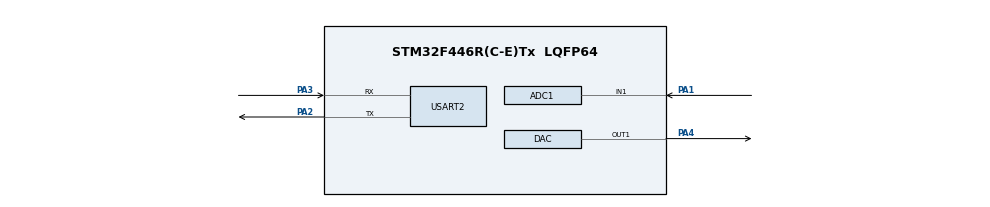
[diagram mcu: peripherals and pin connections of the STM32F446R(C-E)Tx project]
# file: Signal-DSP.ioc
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ADC1.Channel-0\#ChannelRegularConversion=ADC_CHANNEL_1
ADC1.ClockPrescaler=ADC_CLOCK_SYNC_PCLK_DIV4
ADC1.DMAContinuousRequests=ENABLE
ADC1.ExternalTrigConv=ADC_EXTERNALTRIGCONV_T3_TRGO
ADC1.NbrOfConversionFlag=1
ADC1.Rank-0\#ChannelRegularConversion=1
ADC1.SamplingTime-0\#ChannelRegularConversion=ADC_SAMPLETIME_84CYCLES
ADC1.master=1
DAC.DAC_Trigger=DAC_TRIGGER_T6_TRGO
Dma.ADC1.0.Direction=DMA_PERIPH_TO_MEMORY
Dma.ADC1.0.FIFOMode=DMA_FIFOMODE_DISABLE
Dma.ADC1.0.Instance=DMA2_Stream0
Dma.ADC1.0.MemDataAlignment=DMA_MDATAALIGN_HALFWORD
Dma.ADC1.0.MemInc=DMA_MINC_ENABLE
Dma.ADC1.0.Mode=DMA_CIRCULAR
Dma.ADC1.0.PeriphDataAlignment=DMA_PDATAALIGN_HALFWORD
Dma.ADC1.0.PeriphInc=DMA_PINC_DISABLE
Dma.ADC1.0.Priority=DMA_PRIORITY_LOW
Dma.DAC1.1.Direction=DMA_MEMORY_TO_PERIPH
Dma.DAC1.1.FIFOMode=DMA_FIFOMODE_DISABLE
Dma.DAC1.1.Instance=DMA1_Stream5
Dma.DAC1.1.MemDataAlignment=DMA_MDATAALIGN_HALFWORD
Dma.DAC1.1.MemInc=DMA_MINC_ENABLE
Dma.DAC1.1.Mode=DMA_CIRCULAR
Dma.DAC1.1.PeriphDataAlignment=DMA_PDATAALIGN_HALFWORD
Dma.DAC1.1.PeriphInc=DMA_PINC_DISABLE
Dma.DAC1.1.Priority=DMA_PRIORITY_LOW
Dma.Request0=ADC1
Dma.Request1=DAC1
Mcu.Family=STM32F4
Mcu.Name=STM32F446R(C-E)Tx
Mcu.Package=LQFP64
NVIC.DMA1_Stream5_IRQn=true\:0\:0\:false\:false\:true\:false\:true\:true
NVIC.DMA2_Stream0_IRQn=true\:0\:0\:false\:false\:true\:false\:true\:true
NVIC.PriorityGroup=NVIC_PRIORITYGROUP_4
PA1.Signal=ADCx_IN1
PA13.Mode=Serial_Wire
PA13.Signal=SYS_JTMS-SWDIO
PA14.Mode=Serial_Wire
PA14.Signal=SYS_JTCK-SWCLK
PA2.Mode=Asynchronous
PA2.Signal=USART2_TX
PA3.Mode=Asynchronous
PA3.Signal=USART2_RX
PA4.Signal=COMP_DAC1_group
ProjectManager.HeapSize=0x200
ProjectManager.StackSize=0x400
ProjectManager.TargetToolchain=STM32CubeIDE
RCC.CortexFreq_Value=16000000
RCC.USBFreq_Value=96000000
RCC.VCOOutputFreq_Value=192000000
SH.ADCx_IN1.0=ADC1_IN1,IN1
SH.COMP_DAC1_group.0=DAC_OUT1,DAC_OUT1
TIM3.Period=999
TIM3.Prescaler=15
TIM3.TIM_MasterOutputTrigger=TIM_TRGO_UPDATE
TIM6.Period=99
TIM6.Prescaler=15
TIM6.TIM_MasterOutputTrigger=TIM_TRGO_UPDATE
USART2.VirtualMode=VM_ASYNC
VP_TIM3_VS_ClockSourceINT.Mode=Internal
VP_TIM6_VS_ClockSourceINT.Mode=Enable_Timer
board=custom

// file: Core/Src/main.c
/* USER CODE BEGIN Header */
/**
  ******************************************************************************
  * @file           : main.c
  * @brief          : Main program body
  ******************************************************************************
  * @attention
  *
  * Copyright (c) 2026 STMicroelectronics.
  * All rights reserved.
  *
  * This software is licensed under terms that can be found in the LICENSE file
  * in the root directory of this software component.
  * If no LICENSE file comes with this software, it is provided AS-IS.
  *
  ******************************************************************************
  */
/* USER CODE END Header */
#include "main.h"

/* USER CODE BEGIN Includes */
#include <stdio.h>
#include "test_signal.h"
/* USER CODE END Includes */

ADC_HandleTypeDef hadc1;
DMA_HandleTypeDef hdma_adc1;

DAC_HandleTypeDef hdac;
DMA_HandleTypeDef hdma_dac1;

TIM_HandleTypeDef htim3;
TIM_HandleTypeDef htim6;

UART_HandleTypeDef huart2;

/* USER CODE BEGIN PV */
#define BLOCK    512
#define ADC_BUF  (2 * BLOCK)

uint16_t adc_buf[ADC_BUF];
volatile uint8_t block_ready = 0;    // 1: ilk yarı doldu, 2: ikinci yarı doldu
uint32_t block_count = 0;
char msg[80];
/* USER CODE END PV */

void SystemClock_Config(void);
static void MX_GPIO_Init(void);
static void MX_DMA_Init(void);
static void MX_ADC1_Init(void);
static void MX_TIM3_Init(void);
static void MX_TIM6_Init(void);
static void MX_DAC_Init(void);
static void MX_USART2_UART_Init(void);

/* USER CODE BEGIN 0 */
void HAL_ADC_ConvHalfCpltCallback(ADC_HandleTypeDef *hadc) { block_ready = 1; }
void HAL_ADC_ConvCpltCallback(ADC_HandleTypeDef *hadc)     { block_ready = 2; }
/* USER CODE END 0 */

int main(void)
{

  /* MCU Configuration--------------------------------------------------------*/

  /* Reset of all peripherals, Initializes the Flash interface and the Systick. */
  HAL_Init();

  /* Configure the system clock */
  SystemClock_Config();

  /* Initialize all configured peripherals */
  MX_GPIO_Init();
  MX_DMA_Init();
  MX_ADC1_Init();
  MX_TIM3_Init();
  MX_TIM6_Init();
  MX_DAC_Init();
  MX_USART2_UART_Init();
  /* USER CODE BEGIN 2 */
  HAL_DAC_Start_DMA(&hdac, DAC_CHANNEL_1, (uint32_t*)test_signal, TEST_SIGNAL_LEN, DAC_ALIGN_12B_R);
  HAL_TIM_Base_Start(&htim6);                       // DAC tetikleyicisi (10 kHz)
  HAL_ADC_Start_DMA(&hadc1, (uint32_t*)adc_buf, ADC_BUF);
  HAL_TIM_Base_Start(&htim3);                       // ADC tetikleyicisi (1000 Hz)
  /* USER CODE END 2 */

  /* Infinite loop */
  while (1)
  {

    /* USER CODE BEGIN 3 */
	  if (block_ready)
	    {
	        uint16_t *blk = (block_ready == 1) ? &adc_buf[0] : &adc_buf[BLOCK];
	        block_ready = 0;

	        uint8_t header[4] = {0xAA, 0x55,
	                             (uint8_t)(block_count & 0xFF),
	                             (uint8_t)((block_count >> 8) & 0xFF)};
	        block_count++;

	        HAL_UART_Transmit(&huart2, header, 4, 100);
	        HAL_UART_Transmit(&huart2, (uint8_t*)blk, BLOCK * 2, 500);
	    }
  }
  /* USER CODE END 3 */
}

void SystemClock_Config(void)
{
  RCC_OscInitTypeDef RCC_OscInitStruct = {0};
  RCC_ClkInitTypeDef RCC_ClkInitStruct = {0};

  /** Configure the main internal regulator output voltage
  */
  __HAL_RCC_PWR_CLK_ENABLE();
  __HAL_PWR_VOLTAGESCALING_CONFIG(PWR_REGULATOR_VOLTAGE_SCALE3);

  /** Initializes the RCC Oscillators according to the specified parameters
  * in the RCC_OscInitTypeDef structure.
  */
  RCC_OscInitStruct.OscillatorType = RCC_OSCILLATORTYPE_HSI;
  RCC_OscInitStruct.HSIState = RCC_HSI_ON;
  RCC_OscInitStruct.HSICalibrationValue = RCC_HSICALIBRATION_DEFAULT;
  RCC_OscInitStruct.PLL.PLLState = RCC_PLL_NONE;
  if (HAL_RCC_OscConfig(&RCC_OscInitStruct) != HAL_OK)
  {
    Error_Handler();
  }

  /** Initializes the CPU, AHB and APB buses clocks
  */
  RCC_ClkInitStruct.ClockType = RCC_CLOCKTYPE_HCLK|RCC_CLOCKTYPE_SYSCLK
                              |RCC_CLOCKTYPE_PCLK1|RCC_CLOCKTYPE_PCLK2;
  RCC_ClkInitStruct.SYSCLKSource = RCC_SYSCLKSOURCE_HSI;
  RCC_ClkInitStruct.AHBCLKDivider = RCC_SYSCLK_DIV1;
  RCC_ClkInitStruct.APB1CLKDivider = RCC_HCLK_DIV1;
  RCC_ClkInitStruct.APB2CLKDivider = RCC_HCLK_DIV1;

  if (HAL_RCC_ClockConfig(&RCC_ClkInitStruct, FLASH_LATENCY_0) != HAL_OK)
  {
    Error_Handler();
  }
}

static void MX_ADC1_Init(void)
{

  ADC_ChannelConfTypeDef sConfig = {0};

  /** Configure the global features of the ADC (Clock, Resolution, Data Alignment and number of conversion)
  */
  hadc1.Instance = ADC1;
  hadc1.Init.ClockPrescaler = ADC_CLOCK_SYNC_PCLK_DIV4;
  hadc1.Init.Resolution = ADC_RESOLUTION_12B;
  hadc1.Init.ScanConvMode = DISABLE;
  hadc1.Init.ContinuousConvMode = DISABLE;
  hadc1.Init.DiscontinuousConvMode = DISABLE;
  hadc1.Init.ExternalTrigConvEdge = ADC_EXTERNALTRIGCONVEDGE_RISING;
  hadc1.Init.ExternalTrigConv = ADC_EXTERNALTRIGCONV_T3_TRGO;
  hadc1.Init.DataAlign = ADC_DATAALIGN_RIGHT;
  hadc1.Init.NbrOfConversion = 1;
  hadc1.Init.DMAContinuousRequests = ENABLE;
  hadc1.Init.EOCSelection = ADC_EOC_SINGLE_CONV;
  if (HAL_ADC_Init(&hadc1) != HAL_OK)
  {
    Error_Handler();
  }

  /** Configure for the selected ADC regular channel its corresponding rank in the sequencer and its sample time.
  */
  sConfig.Channel = ADC_CHANNEL_1;
  sConfig.Rank = 1;
  sConfig.SamplingTime = ADC_SAMPLETIME_84CYCLES;
  if (HAL_ADC_ConfigChannel(&hadc1, &sConfig) != HAL_OK)
  {
    Error_Handler();
  }

}

static void MX_DAC_Init(void)
{

  DAC_ChannelConfTypeDef sConfig = {0};

  /** DAC Initialization
  */
  hdac.Instance = DAC;
  if (HAL_DAC_Init(&hdac) != HAL_OK)
  {
    Error_Handler();
  }

  /** DAC channel OUT1 config
  */
  sConfig.DAC_Trigger = DAC_TRIGGER_T6_TRGO;
  sConfig.DAC_OutputBuffer = DAC_OUTPUTBUFFER_ENABLE;
  if (HAL_DAC_ConfigChannel(&hdac, &sConfig, DAC_CHANNEL_1) != HAL_OK)
  {
    Error_Handler();
  }

}

static void MX_TIM3_Init(void)
{

  TIM_ClockConfigTypeDef sClockSourceConfig = {0};
  TIM_MasterConfigTypeDef sMasterConfig = {0};

  htim3.Instance = TIM3;
  htim3.Init.Prescaler = 15;
  htim3.Init.CounterMode = TIM_COUNTERMODE_UP;
  htim3.Init.Period = 999;
  htim3.Init.ClockDivision = TIM_CLOCKDIVISION_DIV1;
  htim3.Init.AutoReloadPreload = TIM_AUTORELOAD_PRELOAD_DISABLE;
  if (HAL_TIM_Base_Init(&htim3) != HAL_OK)
  {
    Error_Handler();
  }
  sClockSourceConfig.ClockSource = TIM_CLOCKSOURCE_INTERNAL;
  if (HAL_TIM_ConfigClockSource(&htim3, &sClockSourceConfig) != HAL_OK)
  {
    Error_Handler();
  }
  sMasterConfig.MasterOutputTrigger = TIM_TRGO_UPDATE;
  sMasterConfig.MasterSlaveMode = TIM_MASTERSLAVEMODE_DISABLE;
  if (HAL_TIMEx_MasterConfigSynchronization(&htim3, &sMasterConfig) != HAL_OK)
  {
    Error_Handler();
  }

}

static void MX_TIM6_Init(void)
{

  TIM_MasterConfigTypeDef sMasterConfig = {0};

  htim6.Instance = TIM6;
  htim6.Init.Prescaler = 15;
  htim6.Init.CounterMode = TIM_COUNTERMODE_UP;
  htim6.Init.Period = 99;
  htim6.Init.AutoReloadPreload = TIM_AUTORELOAD_PRELOAD_DISABLE;
  if (HAL_TIM_Base_Init(&htim6) != HAL_OK)
  {
    Error_Handler();
  }
  sMasterConfig.MasterOutputTrigger = TIM_TRGO_UPDATE;
  sMasterConfig.MasterSlaveMode = TIM_MASTERSLAVEMODE_DISABLE;
  if (HAL_TIMEx_MasterConfigSynchronization(&htim6, &sMasterConfig) != HAL_OK)
  {
    Error_Handler();
  }

}

static void MX_USART2_UART_Init(void)
{

  huart2.Instance = USART2;
  huart2.Init.BaudRate = 115200;
  huart2.Init.WordLength = UART_WORDLENGTH_8B;
  huart2.Init.StopBits = UART_STOPBITS_1;
  huart2.Init.Parity = UART_PARITY_NONE;
  huart2.Init.Mode = UART_MODE_TX_RX;
  huart2.Init.HwFlowCtl = UART_HWCONTROL_NONE;
  huart2.Init.OverSampling = UART_OVERSAMPLING_16;
  if (HAL_UART_Init(&huart2) != HAL_OK)
  {
    Error_Handler();
  }

}

static void MX_DMA_Init(void)
{

  /* DMA controller clock enable */
  __HAL_RCC_DMA2_CLK_ENABLE();
  __HAL_RCC_DMA1_CLK_ENABLE();

  /* DMA interrupt init */
  /* DMA1_Stream5_IRQn interrupt configuration */
  HAL_NVIC_SetPriority(DMA1_Stream5_IRQn, 0, 0);
  HAL_NVIC_EnableIRQ(DMA1_Stream5_IRQn);
  /* DMA2_Stream0_IRQn interrupt configuration */
  HAL_NVIC_SetPriority(DMA2_Stream0_IRQn, 0, 0);
  HAL_NVIC_EnableIRQ(DMA2_Stream0_IRQn);

}

static void MX_GPIO_Init(void)
{

  /* GPIO Ports Clock Enable */
  __HAL_RCC_GPIOA_CLK_ENABLE();

}

void Error_Handler(void)
{
  __disable_irq();
  while (1)
  {
  }
}
